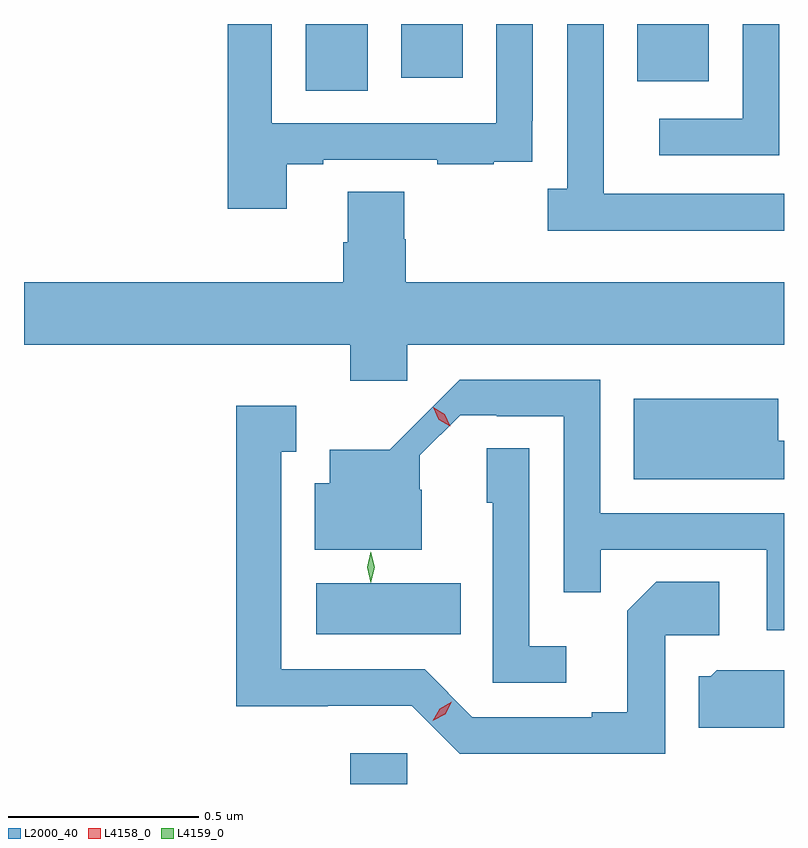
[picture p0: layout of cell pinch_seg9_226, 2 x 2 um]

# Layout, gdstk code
import gdstk
lib = gdstk.Library(unit=1e-6, precision=1e-09)
def R(c, l, rs):  # rectangles x0, y0, x1, y1
    for r in rs: c.add(gdstk.rectangle(r[:2], r[2:], *l))
def P(c, l, *ps):  # polygons
    for p in ps: c.add(gdstk.Polygon(p, *l))
L2000_40 = (2000, 40)
L4158_0 = (4158, 0)
L4159_0 = (4159, 0)

pinch_seg9_226 = lib.new_cell('pinch_seg9_226')
R(pinch_seg9_226, L2000_40, [(618.761,1205.92,618.912,1206.001), (618.672,1206.314,619.052,1206.448), (618.644,1207.744,618.808,1207.92), (619.517,1207.769,619.705,1207.92), (618.896,1207.779,619.057,1207.92)])
P(pinch_seg9_226, L2000_40, [(618.595,1207.551),(618.691,1207.551),(618.691,1207.563),(618.991,1207.563),(618.991,1207.551),(619.139,1207.551),(619.139,1207.557),(619.241,1207.557),(619.241,1207.666),(619.242,1207.666),(619.242,1207.92),(619.146,1207.92),(619.146,1207.659),(618.555,1207.659),(618.555,1207.92),(618.439,1207.92),(618.439,1207.434),(618.595,1207.434)],
  [(619.89,1207.92),(619.794,1207.92),(619.794,1207.671),(619.575,1207.671),(619.575,1207.575),(619.89,1207.575)],
  [(619.903,1207.473),(619.429,1207.473),(619.429,1207.673),(619.428,1207.673),(619.428,1207.92),(619.332,1207.92),(619.332,1207.486),(619.281,1207.486),(619.281,1207.376),(619.903,1207.376)],
  [(618.912,1207.076),(619.903,1207.076),(619.903,1207.24),(618.908,1207.24),(618.908,1207.353),(618.903,1207.353),(618.903,1207.478),(618.755,1207.478),(618.755,1207.346),(618.743,1207.346),(618.743,1207.24),(617.903,1207.24),(617.903,1207.076),(618.761,1207.076),(618.761,1206.981),(618.912,1206.981)],
  [(619.903,1206.633),(619.419,1206.633),(619.419,1206.984),(619.05,1206.984),(618.865,1206.799),(618.707,1206.799),(618.707,1206.712),(618.668,1206.712),(618.668,1206.536),(618.95,1206.536),(618.95,1206.695),(618.945,1206.695),(618.945,1206.785),(619.051,1206.891),(619.147,1206.891),(619.147,1206.888),(619.323,1206.888),(619.323,1206.424),(619.421,1206.424),(619.421,1206.537),(619.857,1206.537),(619.857,1206.324),(619.903,1206.324)],
  [(619.903,1206.823),(619.888,1206.823),(619.888,1206.934),(619.508,1206.934),(619.508,1206.722),(619.903,1206.722)],
  [(619.59,1206.312),(619.732,1206.312),(619.732,1206.452),(619.567,1206.452),(619.491,1206.376),(619.491,1206.109),(619.397,1206.109),(619.397,1206.096),(619.083,1206.096),(618.957,1206.222),(618.58,1206.222),(618.58,1206.795),(618.619,1206.795),(618.619,1206.916),(618.462,1206.916),(618.462,1206.125),(618.702,1206.125),(618.702,1206.126),(618.924,1206.126),(619.05,1206),(619.59,1206)],
  [(619.33,1206.283),(619.233,1206.283),(619.233,1206.803),(619.121,1206.803),(619.121,1206.66),(619.137,1206.66),(619.137,1206.186),(619.33,1206.186)],
  [(619.903,1206.219),(619.86,1206.219),(619.86,1206.22),(619.726,1206.22),(619.71,1206.204),(619.679,1206.204),(619.679,1206.068),(619.903,1206.068)])
P(pinch_seg9_226, L4158_0, [(619.025,1206.861),(618.995,1206.879),(618.98,1206.911),(618.98,1206.911),(618.98,1206.911),(619.01,1206.893),(619.025,1206.861),(619.025,1206.861)],
  [(618.979,1206.086),(618.979,1206.086),(618.997,1206.118),(619.029,1206.136),(619.029,1206.136),(619.029,1206.136),(619.011,1206.104),(618.979,1206.086)])
P(pinch_seg9_226, L4159_0, [(618.816,1206.45),(618.816,1206.45),(618.806,1206.49),(618.816,1206.531),(618.816,1206.531),(618.816,1206.531),(618.826,1206.49),(618.816,1206.45)])

lib.write_gds('pinch_seg9_226.gds')
